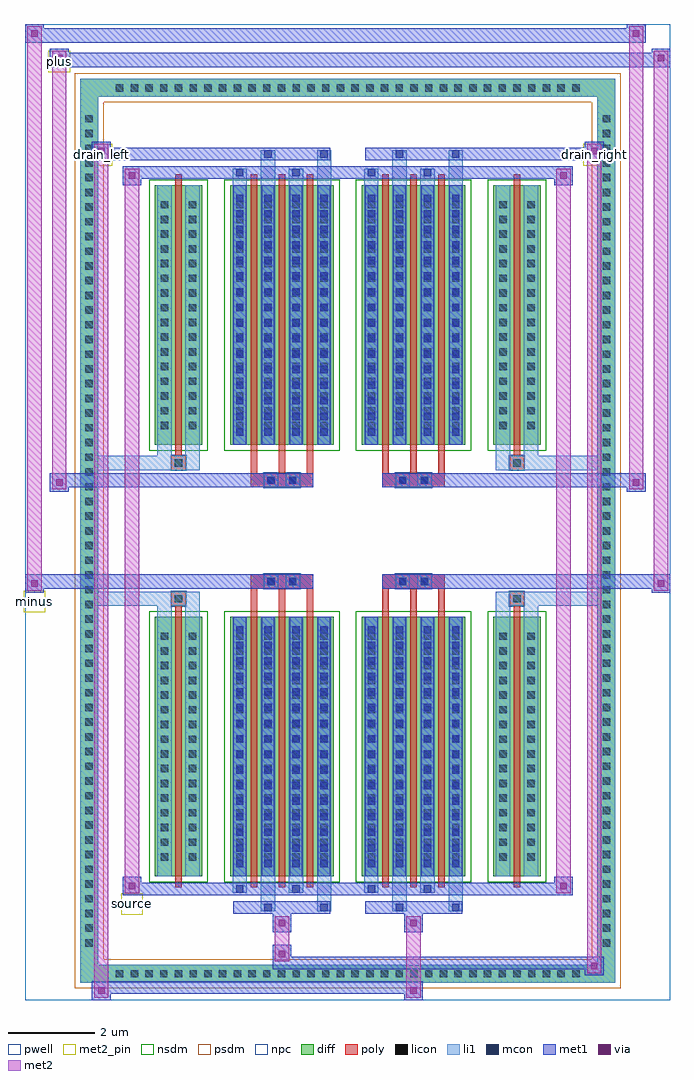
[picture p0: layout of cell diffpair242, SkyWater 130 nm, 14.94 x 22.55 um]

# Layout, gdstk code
import gdstk
lib = gdstk.Library(unit=1e-6, precision=5e-09)
def R(c, l, rs):  # rectangles x0, y0, x1, y1
    for r in rs: c.add(gdstk.rectangle(r[:2], r[2:], *l))
def A(c, l, x, y, w, h, nx, ny, dx, dy):  # array of equal rectangles
    R(c, l, [(x+i*dx, y+j*dy, x+i*dx+w, y+j*dy+h) for i in range(nx) for j in range(ny)])
def P(c, l, *ps):  # polygons
    for p in ps: c.add(gdstk.Polygon(p, *l))
pwell = (64, 44)
diff = (65, 20)
poly = (66, 20)
licon = (66, 44)
li1 = (67, 20)
mcon = (67, 44)
met1 = (68, 20)
via = (68, 44)
met2_pin = (69, 16)
met2 = (69, 20)
nsdm = (93, 44)
psdm = (94, 20)
npc = (95, 20)

diffpair242 = lib.new_cell('diffpair242')
R(diffpair242, pwell, [(-7.45,-10.84,7.45,11.71), (-4.77,-9.03,-0.01,-0.805), (0.01,-9.03,4.77,-0.805), (-4.77,0.805,-0.01,9.03), (0.01,0.805,4.77,9.03)])
A(diffpair242, diff, -5.475, -10.44, 0.41, 0.41, 32, 2, 0.34, 20.47)
A(diffpair242, diff, -6.18, -9.725, 0.41, 0.41, 1, 57, 0, 0.34)
A(diffpair242, diff, 5.77, -9.725, 0.41, 0.41, 1, 57, 0, 0.34)
R(diffpair242, diff, [(-5.475,-10.44,5.475,-10.03), (-6.18,-9.725,-5.77,9.725), (5.77,-9.725,6.18,9.725), (-4.46,-7.985,-3.36,-1.985), (-2.72,-7.985,-0.32,-1.985), (0.32,-7.985,2.72,-1.985), (3.36,-7.985,4.46,-1.985), (-4.46,1.985,-3.36,7.985), (-2.72,1.985,-0.32,7.985), (0.32,1.985,2.72,7.985), (3.36,1.985,4.46,7.985), (-5.475,10.03,5.475,10.44)])
P(diffpair242, diff, [(6.18,10.44),(-6.18,10.44),(-6.18,-10.03),(-5.77,-10.03),(-5.77,10.03),(5.77,10.03),(5.77,-10.03),(-5.77,-10.03),(-6.18,-10.03),(-6.18,-10.44),(6.18,-10.44)])
A(diffpair242, poly, -2.245, -8.235, 0.15, 6.5, 3, 2, 0.65, 9.97)
A(diffpair242, poly, 0.795, -8.235, 0.15, 6.5, 3, 2, 0.65, 9.97)
A(diffpair242, poly, -2.245, -1.735, 0.15, 0.4, 3, 2, 0.65, 3.07)
A(diffpair242, poly, 0.795, -1.735, 0.15, 0.4, 3, 2, 0.65, 3.07)
R(diffpair242, poly, [(-3.985,-8.235,-3.835,-1.735), (3.835,-8.235,3.985,-1.735), (-4.075,-1.735,-3.745,-1.405), (-4.075,-1.735,-3.745,-1.405), (3.745,-1.735,4.075,-1.405), (3.745,-1.735,4.075,-1.405), (-2.245,-1.335,-0.795,-1.005), (-1.935,-1.335,-1.605,-1.005), (-1.435,-1.335,-1.105,-1.005), (0.795,-1.335,2.245,-1.005), (1.105,-1.335,1.435,-1.005), (1.605,-1.335,1.935,-1.005), (-2.245,1.005,-0.795,1.335), (-1.935,1.005,-1.605,1.335), (-1.435,1.005,-1.105,1.335), (0.795,1.005,2.245,1.335), (1.105,1.005,1.435,1.335), (1.605,1.005,1.935,1.335), (-4.075,1.405,-3.745,1.735), (-4.075,1.405,-3.745,1.735), (3.745,1.405,4.075,1.735), (3.745,1.405,4.075,1.735), (-3.985,1.735,-3.835,8.235), (3.835,1.735,3.985,8.235)])
A(diffpair242, licon, -5.355, -10.32, 0.17, 0.17, 32, 2, 0.34, 20.47)
A(diffpair242, licon, -6.06, -9.605, 0.17, 0.17, 1, 57, 0, 0.34)
A(diffpair242, licon, 5.89, -9.605, 0.17, 0.17, 1, 57, 0, 0.34)
A(diffpair242, licon, -4.32, -7.62, 0.17, 0.17, 1, 16, 0, 0.34)
A(diffpair242, licon, -3.67, -7.62, 0.17, 0.17, 1, 16, 0, 0.34)
A(diffpair242, licon, -2.58, -7.62, 0.17, 0.17, 4, 16, 0.65, 0.34)
A(diffpair242, licon, 0.46, -7.62, 0.17, 0.17, 4, 16, 0.65, 0.34)
A(diffpair242, licon, 3.5, -7.62, 0.17, 0.17, 1, 16, 0, 0.34)
A(diffpair242, licon, 4.15, -7.62, 0.17, 0.17, 1, 16, 0, 0.34)
A(diffpair242, licon, -4.32, 2.35, 0.17, 0.17, 1, 16, 0, 0.34)
A(diffpair242, licon, -3.67, 2.35, 0.17, 0.17, 1, 16, 0, 0.34)
A(diffpair242, licon, -2.58, 2.35, 0.17, 0.17, 4, 16, 0.65, 0.34)
A(diffpair242, licon, 0.46, 2.35, 0.17, 0.17, 4, 16, 0.65, 0.34)
A(diffpair242, licon, 3.5, 2.35, 0.17, 0.17, 1, 16, 0, 0.34)
A(diffpair242, licon, 4.15, 2.35, 0.17, 0.17, 1, 16, 0, 0.34)
R(diffpair242, licon, [(-3.995,-1.655,-3.825,-1.485), (3.825,-1.655,3.995,-1.485), (-1.855,-1.255,-1.685,-1.085), (-1.355,-1.255,-1.185,-1.085), (1.185,-1.255,1.355,-1.085), (1.685,-1.255,1.855,-1.085), (-1.855,1.085,-1.685,1.255), (-1.355,1.085,-1.185,1.255), (1.185,1.085,1.355,1.255), (1.685,1.085,1.855,1.255), (-3.995,1.485,-3.825,1.655), (3.825,1.485,3.995,1.655)])
A(diffpair242, li1, -5.435, -10.4, 0.33, 0.33, 32, 2, 0.34, 20.47)
A(diffpair242, li1, -6.14, -9.685, 0.33, 0.33, 1, 57, 0, 0.34)
A(diffpair242, li1, 5.81, -9.685, 0.33, 0.33, 1, 57, 0, 0.34)
A(diffpair242, li1, -2.66, -7.985, 0.33, 6, 4, 2, 0.65, 9.97)
A(diffpair242, li1, 0.38, -7.985, 0.33, 6, 4, 2, 0.65, 9.97)
A(diffpair242, li1, -2.58, -7.77, 0.17, 0.17, 4, 16, 0.65, 0.36)
A(diffpair242, li1, -2.58, -7.77, 0.17, 5.57, 4, 2, 0.65, 9.97)
A(diffpair242, li1, 0.46, -7.77, 0.17, 0.17, 4, 16, 0.65, 0.36)
A(diffpair242, li1, 0.46, -7.77, 0.17, 5.57, 4, 2, 0.65, 9.97)
A(diffpair242, li1, -4.4, -7.7, 0.33, 0.33, 1, 16, 0, 0.34)
A(diffpair242, li1, -3.75, -7.7, 0.33, 0.33, 1, 16, 0, 0.34)
A(diffpair242, li1, -2.66, -7.7, 0.33, 0.33, 4, 16, 0.65, 0.34)
A(diffpair242, li1, 0.38, -7.7, 0.33, 0.33, 4, 16, 0.65, 0.34)
A(diffpair242, li1, 3.42, -7.7, 0.33, 0.33, 1, 16, 0, 0.34)
A(diffpair242, li1, 4.07, -7.7, 0.33, 0.33, 1, 16, 0, 0.34)
A(diffpair242, li1, -2.58, 2.2, 0.17, 0.17, 4, 16, 0.65, 0.36)
A(diffpair242, li1, 0.46, 2.2, 0.17, 0.17, 4, 16, 0.65, 0.36)
A(diffpair242, li1, -4.4, 2.27, 0.33, 0.33, 1, 16, 0, 0.34)
A(diffpair242, li1, -3.75, 2.27, 0.33, 0.33, 1, 16, 0, 0.34)
A(diffpair242, li1, -2.66, 2.27, 0.33, 0.33, 4, 16, 0.65, 0.34)
A(diffpair242, li1, 0.38, 2.27, 0.33, 0.33, 4, 16, 0.65, 0.34)
A(diffpair242, li1, 3.42, 2.27, 0.33, 0.33, 1, 16, 0, 0.34)
A(diffpair242, li1, 4.07, 2.27, 0.33, 0.33, 1, 16, 0, 0.34)
R(diffpair242, li1, [(-6.18,-10.44,-5.77,-10.03), (-6.18,-10.44,-5.77,-10.03), (-5.77,-10.44,5.77,-10.03), (5.77,-10.44,6.18,-10.03), (5.77,-10.44,6.18,-10.03), (-6.18,-10.03,-5.77,10.03), (5.77,-10.03,6.18,10.03), (-2.01,-8.79,-1.68,-7.985), (-1.93,-8.79,-1.76,-8.62), (-0.71,-8.79,-0.38,-7.985), (-0.63,-8.79,-0.46,-8.62), (1.03,-8.79,1.36,-7.985), (1.11,-8.79,1.28,-8.62), (2.33,-8.79,2.66,-7.985), (2.41,-8.79,2.58,-8.62), (-2.66,-8.36,-2.33,-7.985), (-2.58,-8.36,-2.41,-8.19), (-1.36,-8.36,-1.03,-7.985), (-1.28,-8.36,-1.11,-8.19), (0.38,-8.36,0.71,-7.985), (0.46,-8.36,0.63,-8.19), (1.68,-8.36,2.01,-7.985), (1.76,-8.36,1.93,-8.19), (-4.4,-7.985,-4.07,-1.985), (-3.75,-7.985,-3.42,-1.985), (3.42,-7.985,3.75,-1.985), (4.07,-7.985,4.4,-1.985), (-4.4,-1.985,-4.07,-1.405), (-3.75,-1.985,-3.42,-1.405), (3.42,-1.985,3.75,-1.405), (4.07,-1.985,4.4,-1.405), (-6.18,-1.735,-4.075,-1.405), (-4.4,-1.735,-4.075,-1.405), (-4.075,-1.735,-3.745,-1.405), (-3.745,-1.735,-3.42,-1.405), (3.42,-1.735,3.745,-1.405), (3.745,-1.735,4.075,-1.405), (3.745,-1.735,6.18,-1.405), (4.075,-1.735,4.4,-1.405), (-1.935,-1.335,-1.605,-1.005), (-1.435,-1.335,-1.105,-1.005), (1.105,-1.335,1.435,-1.005), (1.605,-1.335,1.935,-1.005), (-1.935,1.005,-1.605,1.335), (-1.435,1.005,-1.105,1.335), (1.105,1.005,1.435,1.335), (1.605,1.005,1.935,1.335), (-6.18,1.405,-4.075,1.735), (-4.4,1.405,-4.075,1.735), (-4.4,1.405,-4.07,1.985), (-4.075,1.405,-3.745,1.735), (-3.75,1.405,-3.42,1.985), (-3.745,1.405,-3.42,1.735), (3.42,1.405,3.745,1.735), (3.42,1.405,3.75,1.985), (3.745,1.405,4.075,1.735), (3.745,1.405,6.18,1.735), (4.07,1.405,4.4,1.985), (4.075,1.405,4.4,1.735), (-4.4,1.985,-4.07,7.985), (-3.75,1.985,-3.42,7.985), (3.42,1.985,3.75,7.985), (4.07,1.985,4.4,7.985), (-2.66,7.985,-2.33,8.36), (-2.01,7.985,-1.68,8.79), (-1.36,7.985,-1.03,8.36), (-0.71,7.985,-0.38,8.79), (0.38,7.985,0.71,8.36), (1.03,7.985,1.36,8.79), (1.68,7.985,2.01,8.36), (2.33,7.985,2.66,8.79), (-2.58,8.19,-2.41,8.36), (-1.28,8.19,-1.11,8.36), (0.46,8.19,0.63,8.36), (1.76,8.19,1.93,8.36), (-1.93,8.62,-1.76,8.79), (-0.63,8.62,-0.46,8.79), (1.11,8.62,1.28,8.79), (2.41,8.62,2.58,8.79), (-6.18,10.03,-5.77,10.44), (-6.18,10.03,-5.77,10.44), (-5.77,10.03,5.77,10.44), (5.77,10.03,6.18,10.44), (5.77,10.03,6.18,10.44)])
A(diffpair242, mcon, -2.58, -7.77, 0.17, 0.17, 4, 16, 0.65, 0.36)
A(diffpair242, mcon, 0.46, -7.77, 0.17, 0.17, 4, 16, 0.65, 0.36)
A(diffpair242, mcon, -2.58, 2.2, 0.17, 0.17, 4, 16, 0.65, 0.36)
A(diffpair242, mcon, 0.46, 2.2, 0.17, 0.17, 4, 16, 0.65, 0.36)
R(diffpair242, mcon, [(-1.93,-8.79,-1.76,-8.62), (-0.63,-8.79,-0.46,-8.62), (1.11,-8.79,1.28,-8.62), (2.41,-8.79,2.58,-8.62), (-2.58,-8.36,-2.41,-8.19), (-1.28,-8.36,-1.11,-8.19), (0.46,-8.36,0.63,-8.19), (1.76,-8.36,1.93,-8.19), (-1.855,-1.255,-1.685,-1.085), (-1.355,-1.255,-1.185,-1.085), (1.185,-1.255,1.355,-1.085), (1.685,-1.255,1.855,-1.085), (-1.855,1.085,-1.685,1.255), (-1.355,1.085,-1.185,1.255), (1.185,1.085,1.355,1.255), (1.685,1.085,1.855,1.255), (-2.58,8.19,-2.41,8.36), (-1.28,8.19,-1.11,8.36), (0.46,8.19,0.63,8.36), (1.76,8.19,1.93,8.36), (-1.93,8.62,-1.76,8.79), (-0.63,8.62,-0.46,8.79), (1.11,8.62,1.28,8.79), (2.41,8.62,2.58,8.79)])
A(diffpair242, met1, -2.64, -7.985, 0.29, 6, 4, 2, 0.65, 9.97)
A(diffpair242, met1, 0.4, -7.985, 0.29, 6, 4, 2, 0.65, 9.97)
A(diffpair242, met1, -2.64, -7.83, 0.29, 0.29, 4, 16, 0.65, 0.36)
A(diffpair242, met1, 0.4, -7.83, 0.29, 0.29, 4, 16, 0.65, 0.36)
A(diffpair242, met1, -2.64, 2.14, 0.29, 0.29, 4, 16, 0.65, 0.36)
A(diffpair242, met1, 0.4, 2.14, 0.29, 0.29, 4, 16, 0.65, 0.36)
R(diffpair242, met1, [(-5.91,-10.84,-5.48,-10.41), (1.305,-10.84,1.735,-10.41), (-5.91,-10.7,1.735,-10.41), (5.48,-10.27,5.91,-9.84), (-1.735,-10.13,5.91,-9.84), (-1.735,-9.99,-1.305,-9.56), (-1.735,-9.28,-1.305,-8.85), (1.305,-9.28,1.735,-8.85), (-2.64,-8.85,-0.4,-8.56), (-1.99,-8.85,-1.7,-8.56), (-0.69,-8.85,-0.4,-8.56), (0.4,-8.85,2.64,-8.56), (1.05,-8.85,1.34,-8.56), (2.35,-8.85,2.64,-8.56), (-5.2,-8.42,-4.77,-7.99), (-5.2,-8.42,-2.64,-8.13), (-2.64,-8.42,-2.35,-8.13), (-2.64,-8.42,-0.4,-8.13), (-1.34,-8.42,-1.05,-8.13), (-0.4,-8.42,0.4,-8.13), (0.4,-8.42,0.69,-8.13), (0.4,-8.42,2.64,-8.13), (1.7,-8.42,1.99,-8.13), (2.64,-8.42,5.2,-8.13), (4.77,-8.42,5.2,-7.99), (-7.45,-1.435,-7.02,-1.005), (7.02,-1.435,7.45,-1.005), (-7.45,-1.335,-0.795,-1.005), (-2.245,-1.335,-0.795,-1.005), (0.795,-1.335,2.245,-1.005), (0.795,-1.335,7.45,-1.005), (-1.915,-1.315,-1.625,-1.025), (-1.415,-1.315,-1.125,-1.025), (1.125,-1.315,1.415,-1.025), (1.625,-1.315,1.915,-1.025), (-6.88,0.905,-6.45,1.335), (6.45,0.905,6.88,1.335), (-6.88,1.005,-2.245,1.335), (-2.245,1.005,-0.795,1.335), (0.795,1.005,2.245,1.335), (2.245,1.005,6.88,1.335), (-1.915,1.025,-1.625,1.315), (-1.415,1.025,-1.125,1.315), (1.125,1.025,1.415,1.315), (1.625,1.025,1.915,1.315), (-5.2,7.99,-4.77,8.42), (4.77,7.99,5.2,8.42), (-5.2,8.13,-2.64,8.42), (-2.64,8.13,-2.35,8.42), (-2.64,8.13,-0.4,8.42), (-1.34,8.13,-1.05,8.42), (-0.4,8.13,0.4,8.42), (0.4,8.13,0.69,8.42), (0.4,8.13,2.64,8.42), (1.7,8.13,1.99,8.42), (2.64,8.13,5.2,8.42), (-5.91,8.56,-5.48,8.99), (-5.91,8.56,-2.64,8.85), (-2.64,8.56,-0.4,8.85), (-1.99,8.56,-1.7,8.85), (-0.69,8.56,-0.4,8.85), (0.4,8.56,2.64,8.85), (1.05,8.56,1.34,8.85), (2.35,8.56,2.64,8.85), (2.64,8.56,5.91,8.85), (5.48,8.56,5.91,8.99), (-6.88,10.71,-6.45,11.14), (-6.88,10.71,-4.77,11.04), (-4.77,10.71,4.77,11.04), (4.77,10.71,7.45,11.04), (7.02,10.71,7.45,11.14), (-7.45,11.28,-7.02,11.71), (-7.45,11.28,-4.77,11.61), (-4.77,11.28,4.77,11.61), (4.77,11.28,6.88,11.61), (6.45,11.28,6.88,11.71)])
R(diffpair242, via, [(-5.77,-10.7,-5.62,-10.55), (1.445,-10.7,1.595,-10.55), (5.62,-10.13,5.77,-9.98), (-1.595,-9.85,-1.445,-9.7), (-1.595,-9.14,-1.445,-8.99), (1.445,-9.14,1.595,-8.99), (-5.06,-8.28,-4.91,-8.13), (4.91,-8.28,5.06,-8.13), (-7.31,-1.295,-7.16,-1.145), (7.16,-1.295,7.31,-1.145), (-6.74,1.045,-6.59,1.195), (6.59,1.045,6.74,1.195), (-5.06,8.13,-4.91,8.28), (4.91,8.13,5.06,8.28), (-5.77,8.7,-5.62,8.85), (5.62,8.7,5.77,8.85), (-6.74,10.85,-6.59,11), (7.16,10.85,7.31,11), (-7.31,11.42,-7.16,11.57), (6.59,11.42,6.74,11.57)])
R(diffpair242, met2_pin, [(-5.235,-8.87,-4.735,-8.37), (-7.485,-1.885,-6.985,-1.385), (-5.945,8.44,-5.445,8.94), (5.445,8.44,5.945,8.94), (-6.915,10.59,-6.415,11.09)])
R(diffpair242, met2, [(-5.86,-10.79,-5.53,-10.46), (-5.86,-10.79,-5.53,8.94), (1.355,-10.79,1.685,-10.46), (1.355,-10.46,1.685,-9.23), (5.53,-10.22,5.86,-9.89), (5.53,-10.22,5.86,8.94), (-1.685,-9.94,-1.355,-9.61), (-1.685,-9.61,-1.355,-9.23), (-1.685,-9.23,-1.355,-8.9), (1.355,-9.23,1.685,-8.9), (-5.15,-8.37,-4.82,-8.04), (-5.15,-8.37,-4.82,8.37), (4.82,-8.37,5.15,-8.04), (4.82,-8.37,5.15,8.37), (-7.4,-1.385,-7.07,-1.055), (-7.4,-1.385,-7.07,11.66), (7.07,-1.385,7.4,-1.055), (7.07,-1.385,7.4,11.09), (-6.83,0.955,-6.5,1.285), (-6.83,0.955,-6.5,11.09), (6.5,0.955,6.83,1.285), (6.5,0.955,6.83,11.66), (-5.15,8.04,-4.82,8.37), (4.82,8.04,5.15,8.37), (-5.86,8.61,-5.53,8.94), (5.53,8.61,5.86,8.94), (-6.83,10.76,-6.5,11.09), (7.07,10.76,7.4,11.09), (-7.4,11.33,-7.07,11.66), (6.5,11.33,6.83,11.66)])
P(diffpair242, met2, [(7.4,-1.385),(7.4,-1.385),(7.4,-1.055),(7.4,-1.055)],
  [(7.4,10.76),(7.4,10.76),(7.4,11.09),(7.4,11.09)],
  [(-7.07,-1.385),(-7.07,-1.385),(-7.07,-1.055),(-7.07,-1.055)],
  [(-7.07,11.33),(-7.07,11.33),(-7.07,11.66),(-7.07,11.66)],
  [(6.83,0.955),(6.83,0.955),(6.83,1.285),(6.83,1.285)],
  [(6.83,11.33),(6.83,11.33),(6.83,11.66),(6.83,11.66)],
  [(-6.5,0.955),(-6.5,0.955),(-6.5,1.285),(-6.5,1.285)],
  [(-6.5,10.76),(-6.5,10.76),(-6.5,11.09),(-6.5,11.09)],
  [(-5.53,-10.79),(-5.53,-10.79),(-5.53,-10.46),(-5.53,-10.46)],
  [(-5.53,8.61),(-5.53,8.61),(-5.53,8.94),(-5.53,8.94)],
  [(5.86,-10.22),(5.86,-10.22),(5.86,-9.89),(5.86,-9.89)],
  [(5.86,8.61),(5.86,8.61),(5.86,8.94),(5.86,8.94)],
  [(-4.82,-8.37),(-4.82,-8.37),(-4.82,-8.04),(-4.82,-8.04)],
  [(-4.82,8.04),(-4.82,8.04),(-4.82,8.37),(-4.82,8.37)],
  [(5.15,-8.37),(5.15,-8.37),(5.15,-8.04),(5.15,-8.04)],
  [(5.15,8.04),(5.15,8.04),(5.15,8.37),(5.15,8.37)])
R(diffpair242, nsdm, [(-4.59,-8.115,-3.23,-1.855), (-2.85,-8.115,-0.19,-1.855), (0.19,-8.115,2.85,-1.855), (3.23,-8.115,4.59,-1.855), (-4.59,1.855,-3.23,8.115), (-2.85,1.855,-0.19,8.115), (0.19,1.855,2.85,8.115), (3.23,1.855,4.59,8.115)])
P(diffpair242, psdm, [(6.31,10.57),(-6.31,10.57),(-6.31,-9.9),(-5.64,-9.9),(-5.64,9.9),(5.64,9.9),(5.64,-9.9),(-5.64,-9.9),(-6.31,-9.9),(-6.31,-10.57),(6.31,-10.57)])
R(diffpair242, npc, [(-4.095,-1.755,-3.725,-1.385), (3.725,-1.755,4.095,-1.385), (-1.955,-1.355,-1.585,-0.985), (-1.955,-1.355,-1.085,-0.985), (-1.955,-1.355,-1.085,-0.985), (-1.455,-1.355,-1.085,-0.985), (1.085,-1.355,1.455,-0.985), (1.085,-1.355,1.955,-0.985), (1.085,-1.355,1.955,-0.985), (1.585,-1.355,1.955,-0.985), (-1.955,0.985,-1.585,1.355), (-1.955,0.985,-1.085,1.355), (-1.955,0.985,-1.085,1.355), (-1.455,0.985,-1.085,1.355), (1.085,0.985,1.455,1.355), (1.085,0.985,1.955,1.355), (1.085,0.985,1.955,1.355), (1.585,0.985,1.955,1.355), (-4.095,1.385,-3.725,1.755), (3.725,1.385,4.095,1.755)])
diffpair242.add(gdstk.Label('minus', (-7.235,-1.635), layer=69, texttype=5))
diffpair242.add(gdstk.Label('drain_right', (5.695,8.69), layer=69, texttype=5))
diffpair242.add(gdstk.Label('drain_left', (-5.695,8.69), layer=69, texttype=5))
diffpair242.add(gdstk.Label('source', (-4.985,-8.62), layer=69, texttype=5))
diffpair242.add(gdstk.Label('plus', (-6.665,10.84), layer=69, texttype=5))

lib.write_gds('diffpair242.gds')
